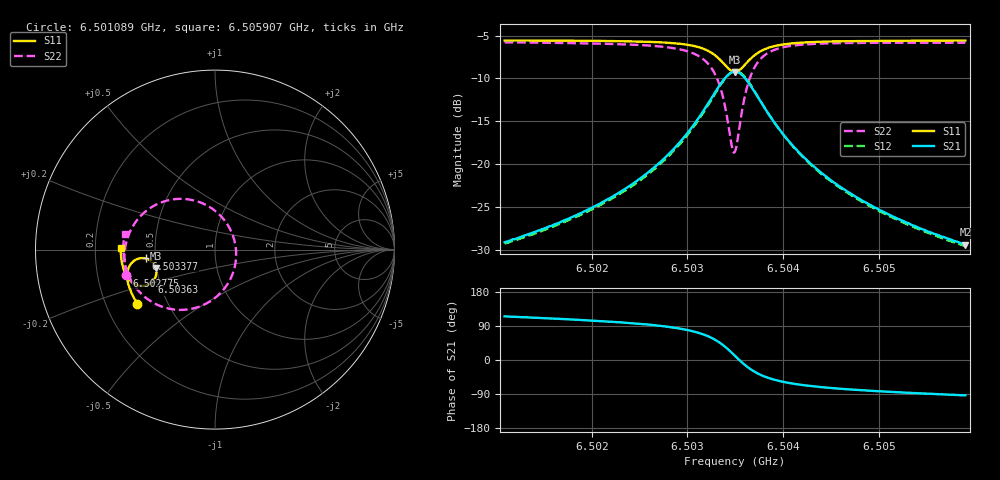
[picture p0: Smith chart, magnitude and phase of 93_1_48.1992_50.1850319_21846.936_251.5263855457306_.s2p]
#  HZ  S  RI  R  50.00
! Rohde & Schwarz Vector Network Analyzer
! Rohde-Schwarz,ZNB20-2Port,1311601062101988,3.16
! Created: UTC 3/20/2024, 11:40:10 AM
! freq[Hz]  re:S11  im:S11  re:S21  im:S21  re:S12  im:S12  re:S22  im:S22
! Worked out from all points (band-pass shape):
!   401 points, 6.501089 GHz to 6.505907 GHz, reference 50 ohm
!   highest |S21| = -9.22 dB at 6.503498 GHz (marker M1); lowest = -29.4 dB at 6.505907 GHz (marker M2)
!   |S21| within 3 dB of the highest: 6.503257 GHz to 6.503739 GHz (482 kHz wide, 0.00741 % of centre)
!   lowest |S11| = -9.2 dB at 6.503498 GHz (marker M3), VSWR 2.05, Z = 24.8 - j5.75 ohm
!   |S11| at or under -10 dB: nowhere
!   |S22| runs from -18.7 to -5.8 dB; largest |S21 - S12| = 0.012
!   S11 on the Smith chart (normalised r, x): 6.501089 GHz: 0.34, -0.28; 6.502775 GHz: 0.33, -0.13; 6.503377 GHz: 0.44, -0.05; 6.50363 GHz: 0.45, -0.20; 6.505907 GHz: 0.31, +0.01
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6.5010886e9  -0.4324 -0.3005  -0.0149 0.0316  -0.0131 0.0318  -0.4937 -0.1405
6.5018957e9  -0.4663 -0.2394  -0.0139 0.0502  -0.0115 0.0497  -0.5045 -0.052
6.5023534e9  -0.4817 -0.1977  -0.0104 0.0712  -0.00751 0.0699  -0.4994 0.0161
6.5027028e9  -0.4892 -0.1575  -0.000968 0.1011  0.00261 0.0986  -0.478 0.0901
6.502775e9  -0.4897 -0.1476  0.00315 0.1101  0.00687 0.1072  -0.4689 0.1098
6.5029919e9  -0.485 -0.1118  0.0272 0.1471  0.0308 0.1425  -0.4188 0.1826
6.5031364e9  -0.4705 -0.0819  0.0655 0.1812  0.0681 0.1752  -0.3444 0.242
6.503281e9  -0.4317 -0.0521  0.1491 0.21  0.1497 0.2038  -0.1916 0.2828
6.5033292e9  -0.4099 -0.0474  0.1926 0.2083  0.1925 0.2027  -0.1152 0.2732
6.5033773e9  -0.3842 -0.0496  0.2424 0.1925  0.2424 0.188  -0.0298 0.2374
6.5034617e9  -0.3406 -0.0797  0.322 0.1159  0.3245 0.1118  0.0968 0.0859
6.5034978e9  -0.3296 -0.1023  0.3397 0.0662  0.3433 0.0607  0.1176 -0.00789
6.5035219e9  -0.3266 -0.119  0.343 0.0307  0.347 0.024  0.1146 -0.0727
6.503558e9  -0.3288 -0.1436  0.3352 -0.0205  0.3388 -0.0294  0.0859 -0.1637
6.5036303e9  -0.3516 -0.1814  0.2872 -0.098  0.2872 -0.1097  -0.0275 -0.2887
6.5037267e9  -0.3931 -0.2013  0.2071 -0.1419  0.2022 -0.1522  -0.1905 -0.3359
6.5038833e9  -0.4432 -0.194  0.1175 -0.141  0.1102 -0.1465  -0.3536 -0.2904
6.5040519e9  -0.4727 -0.1728  0.0687 -0.1196  0.0622 -0.122  -0.4329 -0.2221
6.5043049e9  -0.4955 -0.1416  0.0353 -0.0922  0.0302 -0.0927  -0.4812 -0.1428
6.5046542e9  -0.5108 -0.1041  0.0159 -0.0683  0.0125 -0.068  -0.504 -0.0688
6.505112e9  -0.5207 -0.0608  0.00527 -0.0503  0.00297 -0.0497  -0.5108 -0.000791
6.505907e9  -0.526 0.00714  -0.00183 -0.0338  -0.00333 -0.033  -0.5037 0.086
